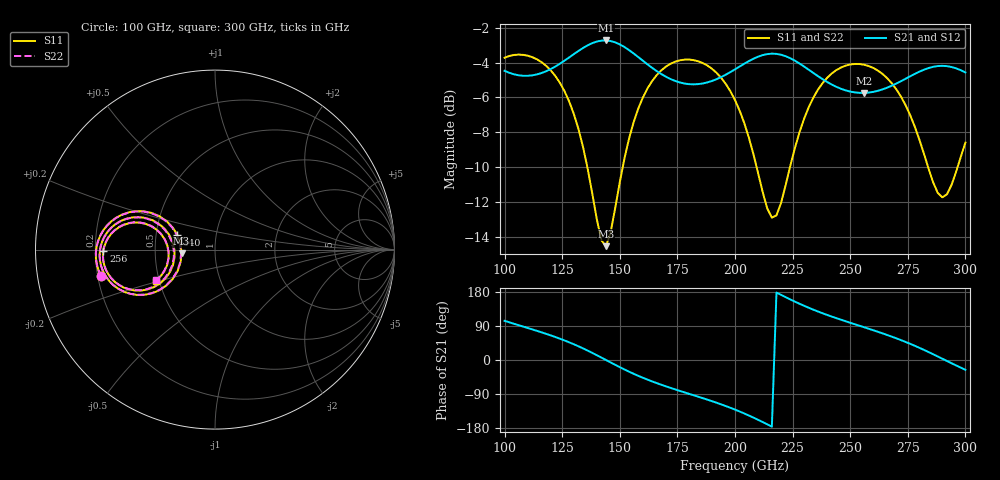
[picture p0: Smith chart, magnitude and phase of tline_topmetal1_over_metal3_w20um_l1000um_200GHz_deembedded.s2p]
! Created with skrf 2.2.0 (http://scikit-rf.org).
# GHz S DB R 50.0
! Port[1] = P1
! Port[2] = P2
!freq dBS11 angS11 dBS21 angS21 dBS12 angS12 dBS22 angS22
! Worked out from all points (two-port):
!   101 points, 100 GHz to 300 GHz, reference 50 ohm
!   highest |S21| = -2.73 dB at 144 GHz (marker M1); lowest = -5.7 dB at 256 GHz (marker M2)
!   |S21| within 3 dB of the highest: start of sweep to 253.3 GHz; 257.2 GHz to end of sweep
!   lowest |S11| = -14.5 dB at 144 GHz (marker M3), VSWR 1.46, Z = 34.3 - j1.43 ohm
!   |S11| at or under -10 dB: 135.9 GHz to 151.3 GHz (15.37 GHz wide, 10.7 % of centre); 209.4 GHz to 223.9 GHz (14.49 GHz wide, 6.69 % of centre); 283.8 GHz to 296.6 GHz (12.8 GHz wide, 4.41 % of centre)
!   |S22| runs from -14.4 to -3.5 dB; largest |S21 - S12| = 8.4e-14
!   S11 on the Smith chart (normalised r, x): 100 GHz: 0.21, -0.11; 140 GHz: 0.65, +0.11; 256 GHz: 0.23, -0.01; 300 GHz: 0.48, -0.19
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100  -3.72 -166.8  -4.47 103.4  -4.47 103.4  -3.72 -166.8
116  -3.97 170.5  -4.60 73.1  -4.60 73.1  -3.97 170.6
126  -5.64 156.5  -3.89 51.6  -3.89 51.6  -5.64 156.7
134  -8.82 149.0  -3.16 30.7  -3.16 30.7  -8.81 149.3
140  -12.98 158.9  -2.79 12.7  -2.79 12.7  -12.92 159.4
144  -14.54 -173.8  -2.73 0.0  -2.73 0.0  -14.43 -173.8
150  -10.86 -145.2  -2.96 -18.9  -2.96 -18.9  -10.81 -145.5
156  -7.43 -145.2  -3.48 -36.3  -3.48 -36.3  -7.40 -145.4
168  -4.45 -160.6  -4.66 -65.3  -4.66 -65.3  -4.44 -160.7
184  -3.92 178.1  -5.24 -96.8  -5.24 -96.8  -3.92 178.2
200  -6.15 158.6  -4.39 -130.9  -4.39 -130.9  -6.13 158.8
208  -9.26 155.3  -3.78 -152.0  -3.78 -152.0  -9.21 155.7
216  -12.90 179.8  -3.49 -175.9  -3.49 -175.9  -12.76 179.9
220  -12.06 -159.8  -3.55 171.8  -3.55 171.8  -11.94 -160.2
226  -8.91 -148.4  -3.89 154.0  -3.89 154.0  -8.85 -148.9
234  -6.01 -152.9  -4.60 132.8  -4.60 132.8  -5.99 -153.3
246  -4.28 -167.2  -5.50 106.3  -5.50 106.3  -4.27 -167.4
256  -4.12 -179.2  -5.74 86.5  -5.74 86.5  -4.11 -179.4
268  -5.18 167.1  -5.33 61.7  -5.33 61.7  -5.17 166.9
278  -7.67 159.7  -4.65 37.6  -4.65 37.6  -7.66 159.5
290  -11.74 -177.0  -4.19 3.3  -4.19 3.3  -11.73 -177.1
300  -8.60 -152.3  -4.56 -25.8  -4.56 -25.8  -8.59 -152.5
